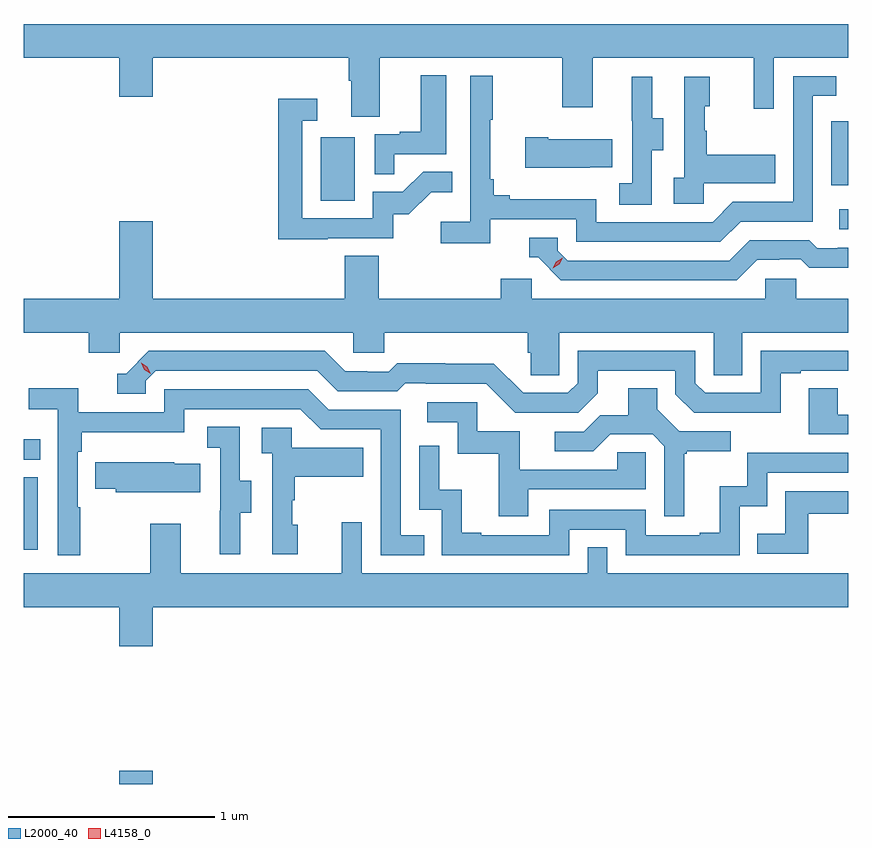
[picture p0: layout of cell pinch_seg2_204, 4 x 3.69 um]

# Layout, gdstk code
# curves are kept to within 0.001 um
import gdstk
lib = gdstk.Library(unit=1e-6, precision=1e-09)
def R(c, l, rs):  # rectangles x0, y0, x1, y1
    for r in rs: c.add(gdstk.rectangle(r[:2], r[2:], *l))
def P(c, l, *ps):  # polygons
    for p in ps: c.add(gdstk.Polygon(p, *l))
L2000_40 = (2000, 40)
L4158_0 = (4158, 0)

pinch_seg2_204 = lib.new_cell('pinch_seg2_204')
R(pinch_seg2_204, L2000_40, [(956.216,648.111,956.38,648.175), (955.753,649.248,955.822,649.599), (955.753,649.684,955.835,649.783), (959.709,650.802,959.753,650.898), (957.194,650.94,957.358,651.247), (959.67,651.015,959.753,651.324)])
P(pinch_seg2_204, L2000_40, [(955.753,651.632),(956.216,651.632),(956.216,651.444),(956.38,651.444),(956.38,651.632),(957.329,651.632),(957.329,651.52),(957.341,651.52),(957.341,651.346),(957.481,651.346),(957.481,651.632),(958.366,651.632),(958.366,651.393),(958.513,651.393),(958.513,651.632),(959.294,651.632),(959.294,651.384),(959.391,651.384),(959.391,651.632),(959.753,651.632),(959.753,651.796),(955.753,651.796)],
  [(957.551,651.165),(957.802,651.165),(957.802,651.547),(957.68,651.547),(957.68,651.274),(957.577,651.274),(957.577,651.261),(957.456,651.261),(957.456,651.067),(957.551,651.067)],
  [(958.016,650.85),(958.434,650.85),(958.434,650.739),(959.131,650.739),(959.23,650.838),(959.58,650.838),(959.58,651.447),(959.693,651.447),(959.693,651.543),(959.484,651.543),(959.484,650.934),(959.193,650.934),(959.094,650.835),(958.53,650.835),(958.53,650.947),(958.111,650.947),(958.111,650.966),(958.034,650.966),(958.034,651.043),(958.015,651.043),(958.015,651.331),(958.027,651.331),(958.027,651.544),(957.918,651.544),(957.918,650.836),(957.777,650.836),(957.777,650.734),(958.016,650.734)],
  [(958.8,651.184),(958.855,651.184),(958.855,651.339),(958.801,651.339),(958.801,651.541),(958.703,651.541),(958.703,651.327),(958.704,651.327),(958.704,651.023),(958.641,651.023),(958.641,650.92),(958.8,650.92)],
  [(959.052,651.023),(959.399,651.023),(959.399,651.163),(959.065,651.163),(959.065,651.278),(959.055,651.278),(959.055,651.396),(959.08,651.396),(959.08,651.541),(958.956,651.541),(958.956,651.05),(958.905,651.05),(958.905,650.925),(959.052,650.925)],
  [(957.227,650.757),(957.546,650.757),(957.546,650.874),(957.622,650.874),(957.729,650.981),(957.833,650.981),(957.833,651.08),(957.69,651.08),(957.592,650.982),(957.447,650.982),(957.447,650.853),(957.105,650.853),(957.105,651.327),(957.178,651.327),(957.178,651.433),(956.989,651.433),(956.989,650.752),(957.227,650.752)],
  [(958.499,651.101),(958.607,651.101),(958.607,651.238),(958.297,651.238),(958.297,651.246),(958.185,651.246),(958.185,651.098),(958.499,651.098)],
  [(958.35,650.3),(959.1,650.3),(959.1,650.092),(959.239,650.092),(959.239,650.3),(959.753,650.3),(959.753,650.464),(959.499,650.464),(959.499,650.562),(959.349,650.562),(959.349,650.464),(958.218,650.464),(958.218,650.562),(958.067,650.562),(958.067,650.464),(957.476,650.464),(957.476,650.672),(957.311,650.672),(957.311,650.464),(956.38,650.464),(956.38,650.839),(956.216,650.839),(956.216,650.464),(955.753,650.464),(955.753,650.3),(956.069,650.3),(956.069,650.202),(956.22,650.202),(956.22,650.3),(957.351,650.3),(957.351,650.202),(957.501,650.202),(957.501,650.3),(958.199,650.3),(958.199,650.202),(958.213,650.202),(958.213,650.092),(958.35,650.092)],
  [(959.311,650.652),(959.418,650.652),(959.418,650.655),(959.521,650.655),(959.563,650.613),(959.753,650.613),(959.753,650.712),(959.701,650.712),(959.701,650.709),(959.602,650.709),(959.563,650.748),(959.274,650.748),(959.175,650.649),(958.392,650.649),(958.344,650.697),(958.344,650.76),(958.205,650.76),(958.205,650.664),(958.248,650.664),(958.359,650.553),(959.212,650.553)],
  [(959.425,650.103),(959.521,650.103),(959.521,650.115),(959.753,650.115),(959.753,650.211),(959.328,650.211),(959.328,650.007),(959.058,650.007),(959.01,650.055),(959.01,650.211),(958.44,650.211),(958.44,650.055),(958.392,650.007),(958.176,650.007),(958.034,650.149),(957.798,650.149),(957.798,650.152),(957.565,650.152),(957.523,650.109),(957.42,650.109),(957.42,650.112),(957.313,650.112),(957.214,650.211),(956.361,650.211),(956.25,650.1),(956.207,650.1),(956.207,650.004),(956.346,650.004),(956.346,650.067),(956.394,650.115),(957.177,650.115),(957.276,650.016),(957.565,650.016),(957.604,650.055),(957.703,650.055),(957.703,650.052),(957.996,650.052),(958.137,649.911),(958.443,649.911),(958.537,650.005),(958.537,650.115),(958.914,650.115),(958.914,650.001),(959.004,649.911),(959.425,649.91)],
  [(958.957,649.713),(958.969,649.713),(958.969,649.724),(959.182,649.724),(959.182,649.821),(958.932,649.821),(958.825,649.928),(958.825,650.03),(958.685,650.03),(958.685,649.898),(958.55,649.898),(958.47,649.818),(958.329,649.818),(958.329,649.725),(958.516,649.725),(958.597,649.806),(958.803,649.806),(958.86,649.749),(958.86,649.41),(958.957,649.41)],
  [(956.029,649.454),(956.016,649.454),(956.016,649.721),(956.036,649.721),(956.036,649.817),(956.532,649.817),(956.532,649.929),(957.096,649.929),(957.195,649.83),(957.486,649.83),(957.486,649.221),(957.695,649.221),(957.695,649.317),(957.582,649.317),(957.582,649.926),(957.232,649.926),(957.133,650.025),(956.436,650.025),(956.436,649.914),(956.018,649.914),(956.018,650.03),(955.779,650.03),(955.779,649.928),(955.92,649.928),(955.92,649.221),(956.029,649.221)],
  [(959.753,649.902),(959.701,649.902),(959.701,650.03),(959.561,650.03),(959.561,649.806),(959.753,649.806)],
  [(958.201,649.539),(958.77,649.539),(958.77,649.719),(958.633,649.719),(958.633,649.635),(958.159,649.635),(958.159,649.821),(957.954,649.821),(957.954,649.962),(957.711,649.962),(957.711,649.866),(957.858,649.866),(957.858,649.713),(958.057,649.713),(958.057,649.41),(958.201,649.41)],
  [(956.803,649.426),(956.857,649.426),(956.857,649.581),(956.802,649.581),(956.802,649.844),(956.643,649.844),(956.643,649.741),(956.706,649.741),(956.706,649.437),(956.705,649.437),(956.705,649.224),(956.803,649.224)],
  [(957.082,649.368),(957.057,649.368),(957.057,649.487),(957.067,649.487),(957.067,649.601),(957.401,649.601),(957.401,649.741),(957.054,649.741),(957.054,649.839),(956.907,649.839),(956.907,649.715),(956.958,649.715),(956.958,649.224),(957.082,649.224)],
  [(958.398,649.344),(958.674,649.344),(958.674,649.221),(959.226,649.221),(959.226,649.457),(959.358,649.457),(959.358,649.62),(959.753,649.62),(959.753,649.716),(959.262,649.716),(959.262,649.555),(959.129,649.555),(959.129,649.33),(959.033,649.33),(959.033,649.317),(958.77,649.317),(958.77,649.44),(958.302,649.44),(958.302,649.317),(957.973,649.317),(957.973,649.33),(957.878,649.33),(957.878,649.538),(957.768,649.538),(957.768,649.75),(957.672,649.75),(957.672,649.44),(957.78,649.44),(957.78,649.221),(958.398,649.221)],
  [(956.609,649.663),(956.484,649.663),(956.484,649.672),(956.101,649.672),(956.101,649.543),(956.199,649.543),(956.199,649.526),(956.609,649.526)],
  [(959.557,649.422),(959.753,649.422),(959.753,649.53),(959.446,649.53),(959.446,649.324),(959.311,649.324),(959.311,649.227),(959.557,649.227)],
  [(956.38,648.968),(959.753,648.968),(959.753,649.132),(958.584,649.132),(958.584,649.259),(958.488,649.259),(958.488,649.132),(957.393,649.132),(957.393,649.381),(957.296,649.381),(957.296,649.132),(956.515,649.132),(956.515,649.372),(956.368,649.372),(956.368,649.132),(955.753,649.132),(955.753,648.968),(956.216,648.968),(956.216,648.78),(956.38,648.78)])
P(pinch_seg2_204, L4158_0, [(958.32,650.612),(958.32,650.612),(958.337,650.644),(958.368,650.663),(958.368,650.663),(958.368,650.663),(958.351,650.631),(958.32,650.612)],
  [(956.369,650.1),(956.338,650.12),(956.323,650.153),(956.323,650.153),(956.323,650.153),(956.353,650.133),(956.369,650.101),(956.369,650.1)])

lib.write_gds('pinch_seg2_204.gds')
